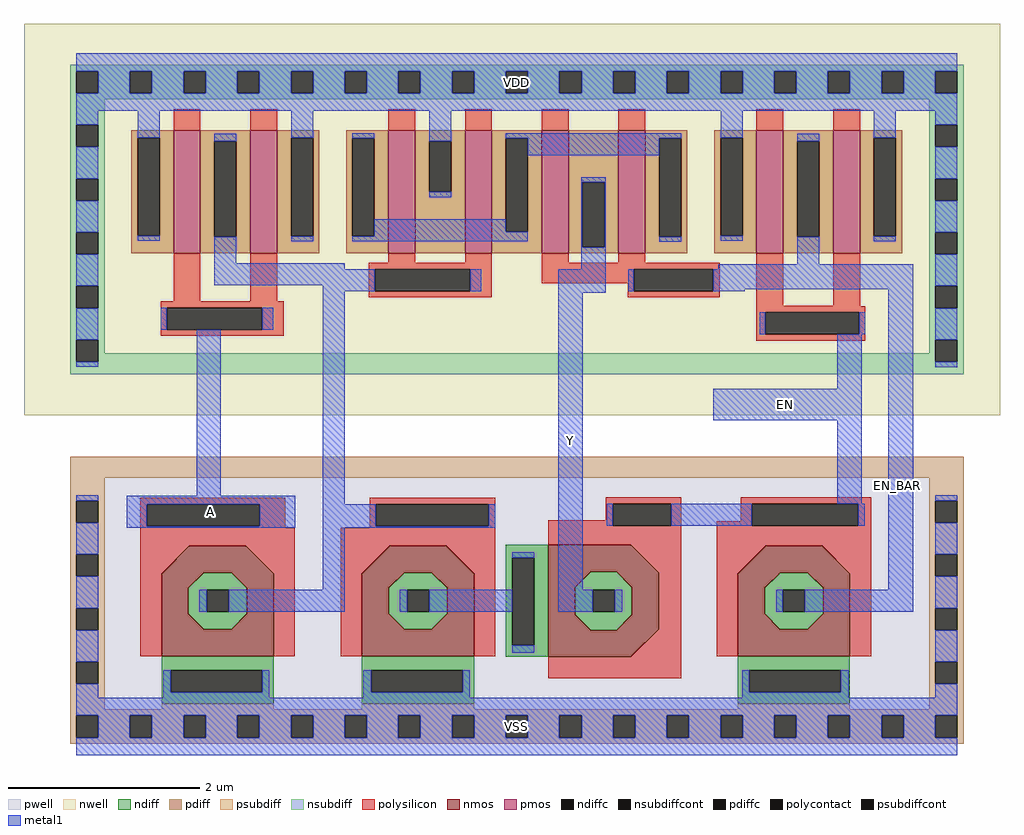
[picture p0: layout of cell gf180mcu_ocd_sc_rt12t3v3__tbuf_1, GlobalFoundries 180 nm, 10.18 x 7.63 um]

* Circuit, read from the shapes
.subckt gf180mcu_ocd_sc_rt12t3v3__tbuf_1 A EN VDD VSS Y
XM1 n1 A VSS VSS nfet_03v3 w=1.785u l=0.5347u
XM2 n2 n1 VSS VSS nfet_03v3 w=1.785u l=0.5378u
XM3 Y EN n2 VSS nfet_03v3 w=1.785u l=0.5249u
XM4 EN_BAR EN VSS VSS nfet_03v3 w=1.785u l=0.5317u
XM5 n1 A VDD VDD pfet_03v3 w=1.285u l=0.28u m=2
XM6 VDD n1 n3 VDD pfet_03v3 w=1.285u l=0.28u m=2
XM7 Y EN_BAR n3 VDD pfet_03v3 w=1.285u l=0.28u m=2
XM8 EN_BAR EN VDD VDD pfet_03v3 w=1.285u l=0.28u m=2
.ends

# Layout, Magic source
magic
tech gf180mcuD
magscale 1 10
<< nwell >>
rect -132 649 1904 1466
<< pwell >>
rect -36 -36 1828 563
<< nmos >>
tri 155 319 213 377 se
rect 213 321 331 377
rect 213 319 241 321
tri 241 319 243 321 nw
tri 301 319 303 321 ne
rect 303 319 331 321
tri 331 319 389 377 sw
rect 155 203 211 319
tri 211 289 241 319 nw
tri 303 289 333 319 ne
tri 211 203 243 235 sw
tri 301 203 333 235 se
rect 333 203 389 319
rect 155 147 389 203
tri 573 319 631 377 se
rect 631 321 749 377
rect 631 319 659 321
tri 659 319 661 321 nw
tri 719 319 721 321 ne
rect 721 319 749 321
tri 749 319 807 377 sw
rect 573 203 629 319
tri 629 289 659 319 nw
tri 721 289 751 319 ne
tri 629 203 661 235 sw
tri 719 203 751 235 se
rect 751 203 807 319
rect 573 147 807 203
rect 962 323 1134 379
rect 962 201 1018 323
tri 1018 291 1050 323 nw
tri 1104 293 1134 323 ne
tri 1134 321 1192 379 sw
rect 1134 293 1192 321
tri 1134 291 1136 293 ne
tri 1018 201 1050 233 sw
tri 1134 231 1136 233 se
rect 1136 231 1192 293
tri 1104 201 1134 231 se
rect 1134 203 1192 231
rect 962 145 1134 201
tri 1134 145 1192 203 nw
tri 1357 319 1415 377 se
rect 1415 321 1533 377
rect 1415 319 1443 321
tri 1443 319 1445 321 nw
tri 1503 319 1505 321 ne
rect 1505 319 1533 321
tri 1533 319 1591 377 sw
rect 1357 203 1413 319
tri 1413 289 1443 319 nw
tri 1505 289 1535 319 ne
tri 1413 203 1445 235 sw
tri 1503 203 1535 235 se
rect 1535 203 1591 319
rect 1357 147 1591 203
<< pmos >>
rect 180 987 236 1244
rect 340 987 396 1244
rect 628 987 684 1244
rect 788 987 844 1244
rect 948 987 1004 1244
rect 1108 987 1164 1244
rect 1396 987 1452 1244
rect 1556 987 1612 1244
<< ndiff >>
tri 241 319 243 321 se
rect 243 319 301 321
tri 301 319 303 321 sw
tri 211 289 241 319 se
rect 241 289 303 319
tri 303 289 333 319 sw
rect 211 285 333 289
rect 211 239 249 285
rect 295 239 333 285
rect 211 235 333 239
tri 211 203 243 235 ne
rect 243 203 301 235
tri 301 203 333 235 nw
tri 659 319 661 321 se
rect 661 319 719 321
tri 719 319 721 321 sw
tri 629 289 659 319 se
rect 659 289 721 319
tri 721 289 751 319 sw
rect 629 285 751 289
rect 629 239 667 285
rect 713 239 751 285
rect 629 235 751 239
tri 629 203 661 235 ne
rect 661 203 719 235
tri 719 203 751 235 nw
rect 873 352 962 379
rect 873 169 886 352
rect 932 169 962 352
tri 1018 291 1050 323 se
rect 1050 293 1104 323
tri 1104 293 1134 323 sw
rect 1050 291 1134 293
tri 1134 291 1136 293 sw
rect 1018 285 1136 291
rect 1018 239 1054 285
rect 1100 239 1136 285
rect 1018 233 1136 239
tri 1018 201 1050 233 ne
rect 1050 231 1134 233
tri 1134 231 1136 233 nw
rect 1050 201 1104 231
tri 1104 201 1134 231 nw
rect 155 117 389 147
rect 155 71 174 117
rect 365 71 389 117
rect 155 47 389 71
rect 573 117 807 147
rect 873 145 962 169
tri 1443 319 1445 321 se
rect 1445 319 1503 321
tri 1503 319 1505 321 sw
tri 1413 289 1443 319 se
rect 1443 289 1505 319
tri 1505 289 1535 319 sw
rect 1413 285 1535 289
rect 1413 239 1451 285
rect 1497 239 1535 285
rect 1413 235 1535 239
tri 1413 203 1445 235 ne
rect 1445 203 1503 235
tri 1503 203 1535 235 nw
rect 573 71 592 117
rect 783 71 807 117
rect 1357 117 1591 147
rect 573 47 807 71
rect 1357 71 1381 117
rect 1572 71 1591 117
rect 1357 47 1591 71
<< pdiff >>
rect 92 1228 180 1244
rect 92 1024 105 1228
rect 151 1024 180 1228
rect 92 987 180 1024
rect 236 1221 340 1244
rect 236 1022 265 1221
rect 311 1022 340 1221
rect 236 987 340 1022
rect 396 1228 484 1244
rect 396 1023 425 1228
rect 471 1023 484 1228
rect 396 987 484 1023
rect 540 1227 628 1244
rect 540 1023 553 1227
rect 599 1023 628 1227
rect 540 987 628 1023
rect 684 1221 788 1244
rect 684 1115 713 1221
rect 759 1115 788 1221
rect 684 987 788 1115
rect 844 1227 948 1244
rect 844 1032 873 1227
rect 919 1032 948 1227
rect 844 987 948 1032
rect 1004 1135 1108 1244
rect 1004 1000 1033 1135
rect 1079 1000 1108 1135
rect 1004 987 1108 1000
rect 1164 1227 1252 1244
rect 1164 1022 1193 1227
rect 1239 1022 1252 1227
rect 1164 987 1252 1022
rect 1308 1228 1396 1244
rect 1308 1024 1321 1228
rect 1367 1024 1396 1228
rect 1308 987 1396 1024
rect 1452 1221 1556 1244
rect 1452 1022 1481 1221
rect 1527 1022 1556 1221
rect 1452 987 1556 1022
rect 1612 1228 1700 1244
rect 1612 1023 1641 1228
rect 1687 1023 1700 1228
rect 1612 987 1700 1023
<< ndiffc >>
rect 249 239 295 285
rect 667 239 713 285
rect 886 169 932 352
rect 1054 239 1100 285
rect 174 71 365 117
rect 1451 239 1497 285
rect 592 71 783 117
rect 1381 71 1572 117
<< pdiffc >>
rect 105 1024 151 1228
rect 265 1022 311 1221
rect 425 1023 471 1228
rect 553 1023 599 1227
rect 713 1115 759 1221
rect 873 1032 919 1227
rect 1033 1000 1079 1135
rect 1193 1022 1239 1227
rect 1321 1024 1367 1228
rect 1481 1022 1527 1221
rect 1641 1023 1687 1228
<< psubdiff >>
rect -36 519 1828 563
rect -36 471 36 519
rect -36 425 -23 471
rect 23 425 36 471
rect -36 359 36 425
rect -36 313 -23 359
rect 23 313 36 359
rect -36 247 36 313
rect -36 201 -23 247
rect 23 201 36 247
rect -36 135 36 201
rect -36 89 -23 135
rect 23 89 36 135
rect -36 36 36 89
rect 155 36 389 47
rect 1756 471 1828 519
rect 1756 425 1769 471
rect 1815 425 1828 471
rect 1756 359 1828 425
rect 1756 313 1769 359
rect 1815 313 1828 359
rect 1756 247 1828 313
rect 1756 201 1769 247
rect 1815 201 1828 247
rect 573 36 807 47
rect 1357 36 1591 47
rect 1756 135 1828 201
rect 1756 89 1769 135
rect 1815 89 1828 135
rect 1756 36 1828 89
rect -36 23 1828 36
rect -36 -23 -23 23
rect 23 -23 89 23
rect 135 -23 201 23
rect 247 -23 313 23
rect 359 -23 425 23
rect 471 -23 537 23
rect 583 -23 649 23
rect 695 -23 761 23
rect 807 -23 873 23
rect 919 -23 985 23
rect 1031 -23 1097 23
rect 1143 -23 1209 23
rect 1255 -23 1321 23
rect 1367 -23 1433 23
rect 1479 -23 1545 23
rect 1591 -23 1657 23
rect 1703 -23 1769 23
rect 1815 -23 1828 23
rect -36 -36 1828 -23
<< nsubdiff >>
rect -36 1367 1828 1380
rect -36 1321 -23 1367
rect 23 1321 89 1367
rect 135 1321 201 1367
rect 247 1321 313 1367
rect 359 1321 425 1367
rect 471 1321 537 1367
rect 583 1321 649 1367
rect 695 1321 761 1367
rect 807 1321 873 1367
rect 919 1321 985 1367
rect 1031 1321 1097 1367
rect 1143 1321 1209 1367
rect 1255 1321 1321 1367
rect 1367 1321 1433 1367
rect 1479 1321 1545 1367
rect 1591 1321 1657 1367
rect 1703 1321 1769 1367
rect 1815 1321 1828 1367
rect -36 1308 1828 1321
rect -36 1255 36 1308
rect -36 1209 -23 1255
rect 23 1209 36 1255
rect 1756 1255 1828 1308
rect -36 1143 36 1209
rect -36 1097 -23 1143
rect 23 1097 36 1143
rect -36 1031 36 1097
rect -36 985 -23 1031
rect 23 985 36 1031
rect 1756 1209 1769 1255
rect 1815 1209 1828 1255
rect 1756 1143 1828 1209
rect 1756 1097 1769 1143
rect 1815 1097 1828 1143
rect 1756 1031 1828 1097
rect -36 919 36 985
rect -36 873 -23 919
rect 23 873 36 919
rect -36 807 36 873
rect 1756 985 1769 1031
rect 1815 985 1828 1031
rect 1756 919 1828 985
rect -36 761 -23 807
rect 23 779 36 807
rect 1756 873 1769 919
rect 1815 873 1828 919
rect 1756 807 1828 873
rect 1756 779 1769 807
rect 23 761 1769 779
rect 1815 761 1828 807
rect -36 735 1828 761
<< psubdiffcont >>
rect -23 425 23 471
rect -23 313 23 359
rect -23 201 23 247
rect -23 89 23 135
rect 1769 425 1815 471
rect 1769 313 1815 359
rect 1769 201 1815 247
rect 1769 89 1815 135
rect -23 -23 23 23
rect 89 -23 135 23
rect 201 -23 247 23
rect 313 -23 359 23
rect 425 -23 471 23
rect 537 -23 583 23
rect 649 -23 695 23
rect 761 -23 807 23
rect 873 -23 919 23
rect 985 -23 1031 23
rect 1097 -23 1143 23
rect 1209 -23 1255 23
rect 1321 -23 1367 23
rect 1433 -23 1479 23
rect 1545 -23 1591 23
rect 1657 -23 1703 23
rect 1769 -23 1815 23
<< nsubdiffcont >>
rect -23 1321 23 1367
rect 89 1321 135 1367
rect 201 1321 247 1367
rect 313 1321 359 1367
rect 425 1321 471 1367
rect 537 1321 583 1367
rect 649 1321 695 1367
rect 761 1321 807 1367
rect 873 1321 919 1367
rect 985 1321 1031 1367
rect 1097 1321 1143 1367
rect 1209 1321 1255 1367
rect 1321 1321 1367 1367
rect 1433 1321 1479 1367
rect 1545 1321 1591 1367
rect 1657 1321 1703 1367
rect 1769 1321 1815 1367
rect -23 1209 23 1255
rect -23 1097 23 1143
rect -23 985 23 1031
rect 1769 1209 1815 1255
rect 1769 1097 1815 1143
rect -23 873 23 919
rect 1769 985 1815 1031
rect -23 761 23 807
rect 1769 873 1815 919
rect 1769 761 1815 807
<< polysilicon >>
rect 180 1244 236 1288
rect 340 1244 396 1288
rect 628 1244 684 1288
rect 788 1244 844 1288
rect 948 1244 1004 1288
rect 1108 1244 1164 1288
rect 1396 1244 1452 1288
rect 1556 1244 1612 1288
rect 180 887 236 987
rect 340 887 396 987
rect 628 967 684 987
rect 788 967 844 987
rect 587 954 844 967
rect 587 908 600 954
rect 799 908 844 954
rect 948 967 1004 987
rect 1108 967 1164 987
rect 948 954 1319 967
rect 948 925 1140 954
rect 587 895 844 908
rect 1127 908 1140 925
rect 1306 908 1319 954
rect 1127 895 1319 908
rect 153 874 410 887
rect 153 828 166 874
rect 365 828 410 874
rect 153 815 410 828
rect 1396 878 1452 987
rect 1556 878 1612 987
rect 1396 877 1612 878
rect 1396 864 1623 877
rect 1396 818 1414 864
rect 1610 818 1623 864
rect 1396 805 1623 818
rect 111 464 413 477
rect 111 418 124 464
rect 360 418 413 464
rect 111 415 413 418
rect 589 464 851 477
rect 589 418 602 464
rect 838 418 851 464
rect 1082 465 1239 478
rect 1082 430 1096 465
rect 589 415 851 418
rect 111 377 433 415
rect 111 147 155 377
tri 155 319 213 377 nw
tri 331 319 389 377 ne
rect 389 147 433 377
rect 529 377 851 415
rect 962 419 1096 430
rect 1218 419 1239 465
rect 1363 465 1635 478
rect 1363 428 1386 465
rect 962 379 1239 419
rect 529 147 573 377
tri 573 319 631 377 nw
tri 749 319 807 377 ne
rect 807 147 851 377
tri 1134 321 1192 379 ne
tri 1134 145 1192 203 se
rect 1192 145 1239 379
rect 1313 419 1386 428
rect 1608 419 1635 465
rect 1313 377 1635 419
rect 1313 147 1357 377
tri 1357 319 1415 377 nw
tri 1533 319 1591 377 ne
rect 1591 147 1635 377
rect 962 101 1239 145
<< polycontact >>
rect 600 908 799 954
rect 1140 908 1306 954
rect 166 828 365 874
rect 1414 818 1610 864
rect 124 418 360 464
rect 602 418 838 464
rect 1096 419 1218 465
rect 1386 419 1608 465
<< metal1 >>
rect -23 1367 1815 1404
rect 23 1321 89 1367
rect 135 1321 201 1367
rect 247 1321 313 1367
rect 359 1321 425 1367
rect 471 1321 537 1367
rect 583 1321 649 1367
rect 695 1321 761 1367
rect 807 1321 873 1367
rect 919 1321 985 1367
rect 1031 1321 1097 1367
rect 1143 1321 1209 1367
rect 1255 1321 1321 1367
rect 1367 1321 1433 1367
rect 1479 1321 1545 1367
rect 1591 1321 1657 1367
rect 1703 1321 1769 1367
rect -23 1284 1815 1321
rect -23 1255 23 1284
rect -23 1143 23 1209
rect -23 1031 23 1097
rect 105 1228 151 1284
rect 105 1013 151 1024
rect 265 1221 311 1236
rect -23 919 23 985
rect 265 966 311 1022
rect 425 1228 471 1284
rect 425 1012 471 1023
rect 553 1227 599 1238
rect 713 1221 759 1284
rect 713 1104 759 1115
rect 873 1227 1239 1238
rect 599 1032 873 1058
rect 919 1192 1193 1227
rect 599 1023 919 1032
rect 553 1012 919 1023
rect 1030 1135 1082 1146
rect 1030 1000 1033 1135
rect 1079 1000 1082 1135
rect 1193 1011 1239 1022
rect 1321 1228 1367 1284
rect 1321 1013 1367 1024
rect 1481 1221 1527 1236
rect 265 954 537 966
rect 1030 954 1082 1000
rect 1481 964 1527 1022
rect 1641 1228 1687 1284
rect 1641 1012 1687 1023
rect 1769 1255 1815 1284
rect 1769 1143 1815 1209
rect 1769 1031 1815 1097
rect 1316 954 1723 964
rect 265 920 600 954
rect 491 908 600 920
rect 799 908 822 954
rect -23 807 23 873
rect 153 828 166 874
rect 365 828 388 874
rect -23 750 23 761
rect -23 471 23 482
rect 228 481 278 828
rect -23 359 23 425
rect 82 464 434 481
rect 82 418 124 464
rect 360 418 434 464
rect 82 415 434 418
rect 491 464 537 908
rect 982 905 1082 954
rect 1129 908 1140 954
rect 1306 912 1723 954
rect 1306 908 1372 912
rect 491 418 602 464
rect 838 418 851 464
rect 491 415 851 418
rect -23 247 23 313
rect 491 285 537 415
rect 886 352 932 363
rect 234 239 249 285
rect 295 239 537 285
rect 652 239 667 285
rect 713 239 886 285
rect -23 135 23 201
rect 982 285 1034 905
rect 1403 818 1414 864
rect 1610 818 1623 864
rect 1564 705 1616 818
rect 1306 639 1616 705
rect 1564 465 1616 639
rect 1084 419 1096 465
rect 1218 419 1386 465
rect 1608 419 1622 465
rect 1671 285 1723 912
rect 1769 919 1815 985
rect 1769 807 1815 873
rect 1769 749 1815 761
rect 982 239 1054 285
rect 1100 239 1116 285
rect 1437 239 1451 285
rect 1497 239 1723 285
rect 1769 471 1815 482
rect 1769 359 1815 425
rect 1769 247 1815 313
rect 886 154 932 169
rect 1769 135 1815 201
rect -23 60 23 89
rect 158 71 174 117
rect 365 71 380 117
rect 158 60 380 71
rect 576 71 592 117
rect 783 71 798 117
rect 576 60 798 71
rect 1366 71 1381 117
rect 1572 71 1588 117
rect 1366 60 1588 71
rect 1769 60 1815 89
rect -23 23 1815 60
rect 23 -23 89 23
rect 135 -23 201 23
rect 247 -23 313 23
rect 359 -23 425 23
rect 471 -23 537 23
rect 583 -23 649 23
rect 695 -23 761 23
rect 807 -23 873 23
rect 919 -23 985 23
rect 1031 -23 1097 23
rect 1143 -23 1209 23
rect 1255 -23 1321 23
rect 1367 -23 1433 23
rect 1479 -23 1545 23
rect 1591 -23 1657 23
rect 1703 -23 1769 23
rect -23 -60 1815 -23
<< labels >>
flabel metal1 s 0 1284 1792 1404 0 FreeSans 400 180 0 0 VDD
port 7 nsew power bidirectional abutment
flabel metal1 s 0 -60 1792 60 0 FreeSans 400 180 0 0 VSS
port 8 nsew ground bidirectional abutment
flabel metal1 982 239 1034 954 0 FreeSans 320 0 0 0 Y
port 9 nsew
flabel metal1 s 1306 639 1606 705 0 FreeSans 320 180 0 0 EN
port 2 nsew signal input
flabel metal1 s 82 415 434 481 0 FreeSans 320 0 0 0 A
port 1 nsew signal input
flabel metal1 1691 502 1691 502 0 FreeSans 320 90 0 0 EN_BAR
<< properties >>
string FIXED_BBOX 0 0 1792 1344
<< end >>
